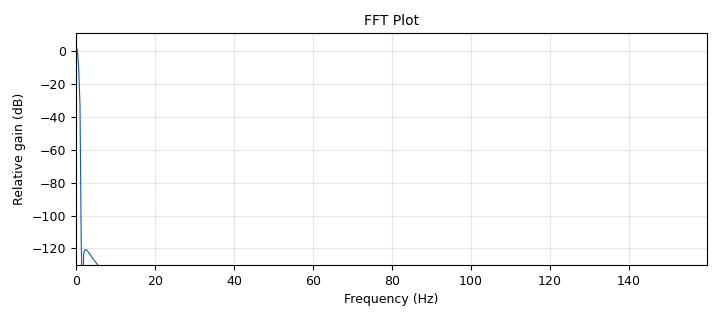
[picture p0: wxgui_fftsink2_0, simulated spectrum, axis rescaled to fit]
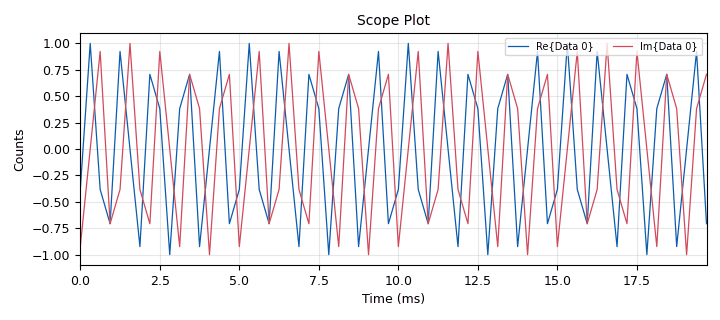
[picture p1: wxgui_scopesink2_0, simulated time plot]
<?xml version='1.0' encoding='utf-8'?>
<?grc format='1' created='3.7.10'?>
<flow_graph>
<block>
<key>options</key>
<param><key>id</key><value>top_block</value></param>
<param><key>generate_options</key><value>wx_gui</value></param>
</block>
<block>
<key>variable</key>
<param><key>id</key><value>samp_rate</value></param>
<param><key>value</key><value>3200</value></param>
</block>
<block>
<key>analog_quadrature_demod_cf</key>
<param><key>id</key><value>analog_quadrature_demod_cf_0</value></param>
<param><key>gain</key><value>1</value></param>
</block>
<block>
<key>analog_sig_source_x</key>
<param><key>id</key><value>analog_sig_source_x_0</value></param>
<param><key>amp</key><value>1</value></param>
<param><key>freq</key><value>1000</value></param>
<param><key>offset</key><value>0</value></param>
<param><key>type</key><value>complex</value></param>
<param><key>samp_rate</key><value>samp_rate</value></param>
<param><key>waveform</key><value>analog.GR_COS_WAVE</value></param>
</block>
<block>
<key>blocks_throttle</key>
<param><key>id</key><value>blocks_throttle_0</value></param>
<param><key>samples_per_second</key><value>samp_rate</value></param>
<param><key>type</key><value>complex</value></param>
</block>
<block>
<key>rational_resampler_xxx</key>
<param><key>id</key><value>rational_resampler_xxx_0</value></param>
<param><key>decim</key><value>10</value></param>
<param><key>interp</key><value>1</value></param>
<param><key>taps</key><value></value></param>
<param><key>type</key><value>fff</value></param>
</block>
<block>
<key>wxgui_fftsink2</key>
<param><key>id</key><value>wxgui_fftsink2_0</value></param>
<param><key>avg_alpha</key><value>0</value></param>
<param><key>average</key><value>False</value></param>
<param><key>baseband_freq</key><value>0</value></param>
<param><key>fft_size</key><value>1024</value></param>
<param><key>freqvar</key><value>None</value></param>
<param><key>peak_hold</key><value>False</value></param>
<param><key>ref_level</key><value>0</value></param>
<param><key>ref_scale</key><value>2.0</value></param>
<param><key>fft_rate</key><value>15</value></param>
<param><key>samp_rate</key><value>samp_rate/10</value></param>
<param><key>title</key><value>FFT Plot</value></param>
<param><key>type</key><value>float</value></param>
<param><key>win</key><value>None</value></param>
<param><key>y_divs</key><value>10</value></param>
<param><key>y_per_div</key><value>10</value></param>
</block>
<block>
<key>wxgui_scopesink2</key>
<param><key>id</key><value>wxgui_scopesink2_0</value></param>
<param><key>ac_couple</key><value>False</value></param>
<param><key>num_inputs</key><value>1</value></param>
<param><key>samp_rate</key><value>samp_rate</value></param>
<param><key>t_scale</key><value>0</value></param>
<param><key>title</key><value>Scope Plot</value></param>
<param><key>trig_mode</key><value>wxgui.TRIG_MODE_AUTO</value></param>
<param><key>type</key><value>complex</value></param>
<param><key>v_offset</key><value>0</value></param>
<param><key>v_scale</key><value>0</value></param>
<param><key>xy_mode</key><value>False</value></param>
<param><key>y_axis_label</key><value>Counts</value></param>
</block>
<block>
<key>wxgui_scopesink2</key>
<param><key>id</key><value>wxgui_scopesink2_0_0</value></param>
<param><key>ac_couple</key><value>False</value></param>
<param><key>num_inputs</key><value>1</value></param>
<param><key>samp_rate</key><value>samp_rate</value></param>
<param><key>t_scale</key><value>0</value></param>
<param><key>title</key><value>Scope Plot</value></param>
<param><key>trig_mode</key><value>wxgui.TRIG_MODE_AUTO</value></param>
<param><key>type</key><value>float</value></param>
<param><key>v_offset</key><value>0</value></param>
<param><key>v_scale</key><value>0</value></param>
<param><key>xy_mode</key><value>False</value></param>
<param><key>y_axis_label</key><value>Counts</value></param>
</block>
<connection><source_block_id>analog_quadrature_demod_cf_0</source_block_id><sink_block_id>rational_resampler_xxx_0</sink_block_id><source_key>0</source_key><sink_key>0</sink_key></connection>
<connection><source_block_id>analog_quadrature_demod_cf_0</source_block_id><sink_block_id>wxgui_scopesink2_0_0</sink_block_id><source_key>0</source_key><sink_key>0</sink_key></connection>
<connection><source_block_id>analog_sig_source_x_0</source_block_id><sink_block_id>blocks_throttle_0</sink_block_id><source_key>0</source_key><sink_key>0</sink_key></connection>
<connection><source_block_id>blocks_throttle_0</source_block_id><sink_block_id>analog_quadrature_demod_cf_0</sink_block_id><source_key>0</source_key><sink_key>0</sink_key></connection>
<connection><source_block_id>blocks_throttle_0</source_block_id><sink_block_id>wxgui_scopesink2_0</sink_block_id><source_key>0</source_key><sink_key>0</sink_key></connection>
<connection><source_block_id>rational_resampler_xxx_0</source_block_id><sink_block_id>wxgui_fftsink2_0</sink_block_id><source_key>0</source_key><sink_key>0</sink_key></connection>
</flow_graph>
